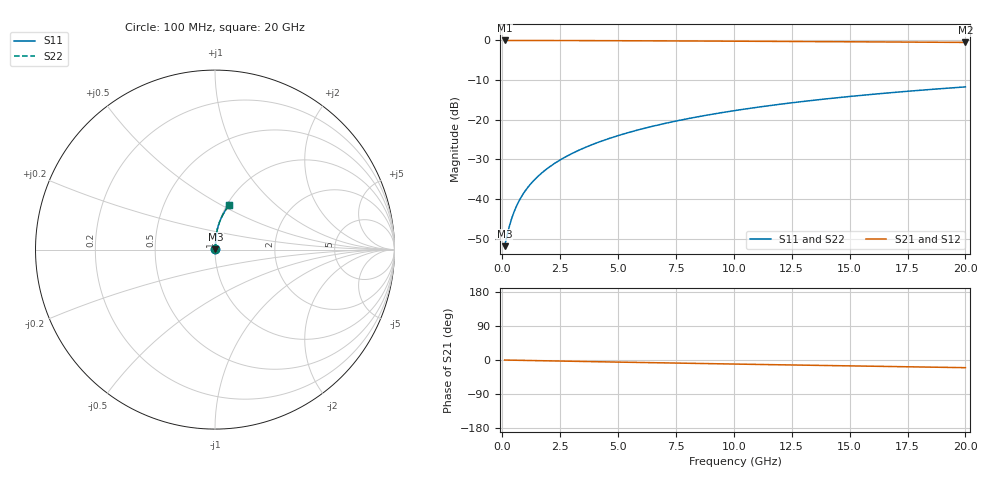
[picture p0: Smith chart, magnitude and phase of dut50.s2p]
! Touchstone file exported from HFSS 2024.1.0
!  File:  C:/UserFiles/LocalFiles/RDL_TSV_Batchsim/temp_RDL_top_50_1778681311.aedt
!  Generated:  10:10:49 PM May 13, 2026
!  Design:  RDL_top
!  Project:  temp_RDL_top_50_1778681311
!  Setup:  Setup1
!  Solution:  Sweep
! Variables:
!  dtsv = 10.80580581um
!  hbump = 3um
!  htsv = 58.93um
!  ldown = 100um
!  lrdl = 202.41um
!  p = 40
!  p1 = 59.4um
!  rhole = 1um
!  t = 450um
!  tdown = 3.915915916um
!  trdl = 2.12um
!  wdown = 15.38538539um
!  wrdl = 18.61um
# GHz S MA R 50.000000
! Terminal data exported
! Port[1] = Box2_T1
! Port[2] = Box2_T2
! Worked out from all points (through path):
!   200 points, 100 MHz to 20 GHz, reference 50 ohm
!   highest |S21| = -0.02 dB at 100 MHz (marker M1); lowest = -0.5 dB at 20 GHz (marker M2)
!   group delay of S21, straight-line fit = 2.8 ps
!   lowest |S11| = -51.9 dB at 100 MHz (marker M3), VSWR 1.01, Z = 50.2 + j0.13 ohm
!   |S11| at or under -10 dB: start of sweep to end of sweep
!   |S22| runs from -51.9 to -11.7 dB; largest |S21 - S12| = 4.1e-15
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0.1  0.002531 30.7  0.9978 -0.1  0.9978 -0.1  0.002531 30.7
! Gamma 0 0 0 0
! Port Impedance 50 0 50 0
0.3  0.004457 59.7  0.9977 -0.4  0.9977 -0.4  0.004457 59.7
0.4  0.0056 65.8  0.9977 -0.5  0.9977 -0.5  0.0056 65.8
0.5  0.006773 69.7  0.9976 -0.6  0.9976 -0.6  0.006773 69.7
0.6  0.007958 72.4  0.9975 -0.7  0.9975 -0.7  0.007958 72.4
0.8  0.01034 76.1  0.9973 -0.9  0.9973 -0.9  0.01034 76.1
1.1  0.01393 79.2  0.9971 -1.3  0.9971 -1.3  0.01393 79.2
1.5  0.01876 81.7  0.9967 -1.7  0.9967 -1.7  0.01876 81.7
1.8  0.0224 82.8  0.9964 -2.0  0.9964 -2.0  0.0224 82.8
2.1  0.02608 83.7  0.996 -2.4  0.996 -2.4  0.02608 83.7
2.7  0.0335 84.7  0.9952 -3.0  0.9952 -3.0  0.0335 84.7
3.5  0.04355 85.4  0.9938 -3.9  0.9938 -3.9  0.04355 85.4
4.2  0.05248 85.6  0.9925 -4.7  0.9925 -4.7  0.05248 85.6
5  0.06283 85.6  0.9907 -5.5  0.9907 -5.5  0.06283 85.6
5.9  0.07464 85.4  0.9885 -6.5  0.9885 -6.5  0.07464 85.4
6.8  0.08659 84.9  0.9862 -7.4  0.9862 -7.4  0.08659 84.9
8.4  0.108 83.8  0.9818 -9.1  0.9818 -9.1  0.108 83.8
10.1  0.1309 82.4  0.9768 -10.8  0.9768 -10.8  0.1309 82.3
11.7  0.1524 80.8  0.9718 -12.4  0.9718 -12.4  0.1524 80.8
13.4  0.175 79.2  0.9663 -14.0  0.9663 -14.0  0.175 79.2
16.7  0.2178 75.8  0.9548 -17.2  0.9548 -17.2  0.2178 75.8
20  0.2589 72.5  0.9424 -20.2  0.9424 -20.2  0.2589 72.5
